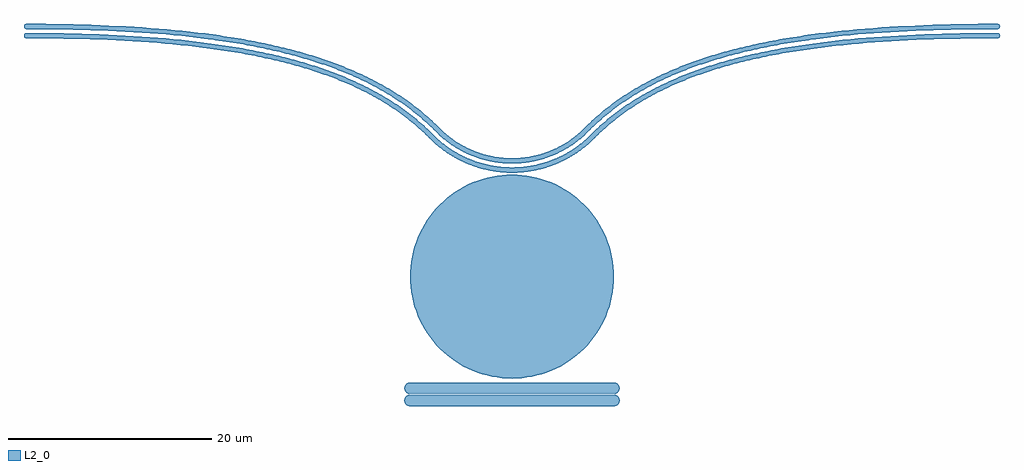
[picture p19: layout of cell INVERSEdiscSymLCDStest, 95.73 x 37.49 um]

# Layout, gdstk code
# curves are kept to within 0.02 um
import gdstk
lib = gdstk.Library(unit=1e-6, precision=1e-09)
def P(c, l, *ps):  # polygons
    for p in ps: c.add(gdstk.Polygon(p, *l))
L2_0 = (2, 0)

inversediscsymlcdstest = lib.new_cell('INVERSEdiscSymLCDStest')
P(inversediscsymlcdstest, L2_0, [(-10,-30),(-10.98,-29.952),(-11.951,-29.808),(-12.903,-29.569),(-13.827,-29.239),(-14.714,-28.819),(-15.556,-28.315),(-16.344,-27.73),(-17.071,-27.071),(-17.73,-26.344),(-18.315,-25.556),(-18.819,-24.714),(-19.239,-23.827),(-19.569,-22.903),(-19.808,-21.951),(-19.952,-20.98),(-20,-20),(-19.952,-19.02),(-19.808,-18.049),(-19.569,-17.097),(-19.239,-16.173),(-18.819,-15.286),(-18.315,-14.444),(-17.73,-13.656),(-17.071,-12.929),(-16.344,-12.27),(-15.556,-11.685),(-14.714,-11.181),(-13.827,-10.761),(-12.903,-10.431),(-11.951,-10.192),(-10.98,-10.048),(-10,-10),(-9.02,-10.048),(-8.049,-10.192),(-7.097,-10.431),(-6.173,-10.761),(-5.286,-11.181),(-4.444,-11.685),(-3.656,-12.27),(-2.929,-12.929),(-2.27,-13.656),(-1.685,-14.444),(-1.181,-15.286),(-0.761,-16.173),(-0.431,-17.097),(-0.192,-18.049),(-0.048,-19.02),(0,-20),(-0.048,-20.98),(-0.192,-21.951),(-0.431,-22.903),(-0.761,-23.827),(-1.181,-24.714),(-1.685,-25.556),(-2.27,-26.344),(-2.929,-27.071),(-3.656,-27.73),(-4.444,-28.315),(-5.286,-28.819),(-6.173,-29.239),(-7.097,-29.569),(-8.049,-29.808),(-9.02,-29.952)],
  [(-20,-32.7),(-20.214,-32.657),(-20.389,-32.539),(-20.507,-32.364),(-20.55,-32.15),(-20.507,-31.936),(-20.389,-31.761),(-20.214,-31.643),(-20,-31.6),(0,-31.6),(0.214,-31.643),(0.389,-31.761),(0.507,-31.936),(0.55,-32.15),(0.507,-32.364),(0.389,-32.539),(0.214,-32.657),(0,-32.7)],
  [(-20,-31.5),(-20.214,-31.457),(-20.389,-31.339),(-20.507,-31.164),(-20.55,-30.95),(-20.507,-30.736),(-20.389,-30.561),(-20.214,-30.443),(-20,-30.4),(0,-30.4),(0.214,-30.443),(0.389,-30.561),(0.507,-30.736),(0.55,-30.95),(0.507,-31.164),(0.389,-31.339),(0.214,-31.457),(0,-31.5)],
  [(-10,-9.8),(-11.34,-9.721),(-11.97,-9.629),(-12.662,-9.485),(-13.947,-9.095),(-15.114,-8.589),(-15.978,-8.107),(-16.798,-7.552),(-17.619,-6.88),(-18.967,-5.589),(-20.056,-4.662),(-21.419,-3.654),(-22.884,-2.722),(-24.686,-1.749),(-26.625,-0.871),(-28.706,-0.083),(-30.93,0.616),(-33.304,1.23),(-35.851,1.766),(-38.55,2.22),(-41.039,2.552),(-44.803,2.925),(-48.818,3.185),(-53.087,3.336),(-57.643,3.387),(-57.737,3.416),(-57.825,3.496),(-57.866,3.61),(-57.856,3.71),(-57.757,3.843),(-57.617,3.886),(-57.617,3.386),(-57.617,3.886),(-55.766,3.878),(-52.191,3.814),(-48.781,3.684),(-46.331,3.54),(-43.205,3.286),(-39.878,2.911),(-37.088,2.494),(-34.131,1.928),(-31.371,1.257),(-29.92,0.838),(-28.801,0.477),(-26.67,-0.312),(-24.682,-1.195),(-22.834,-2.173),(-21.329,-3.111),(-19.927,-4.127),(-18.807,-5.061),(-17.335,-6.463),(-16.554,-7.11),(-15.659,-7.716),(-14.769,-8.202),(-13.647,-8.672),(-12.938,-8.897),(-12.282,-9.059),(-11.013,-9.253),(-9.932,-9.3),(-9.257,-9.275),(-8.584,-9.208),(-7.455,-8.999),(-6.226,-8.626),(-5.11,-8.142),(-4.112,-7.573),(-3.179,-6.902),(-2.665,-6.463),(-1.012,-4.901),(0.317,-3.829),(1.537,-2.972),(2.834,-2.173),(4.682,-1.195),(6.67,-0.312),(8.801,0.477),(11.076,1.176),(13.815,1.859),(16.414,2.377),(19.166,2.814),(22.448,3.211),(26.331,3.54),(29.618,3.723),(33.069,3.836),(37.617,3.886),(37.617,3.386),(33.087,3.336),(28.818,3.185),(24.803,2.925),(21.039,2.552),(18.55,2.22),(15.851,1.766),(13.304,1.23),(10.93,0.616),(8.706,-0.083),(6.625,-0.871),(4.686,-1.749),(2.884,-2.722),(1.419,-3.654),(0.056,-4.662),(-1.033,-5.589),(-2.381,-6.88),(-3.202,-7.552),(-4.022,-8.107),(-4.886,-8.589),(-6.053,-9.095),(-7.338,-9.485),(-8.03,-9.629),(-8.66,-9.721)],
  [(37.617,3.386),(37.617,3.886),(37.715,3.866),(37.794,3.812),(37.848,3.733),(37.867,3.636),(37.848,3.538),(37.794,3.459),(37.715,3.405)],
  [(-57.617,4.286),(-57.715,4.305),(-57.794,4.359),(-57.848,4.438),(-57.867,4.536),(-57.848,4.633),(-57.794,4.712),(-57.715,4.766),(-57.617,4.786)],
  [(37.617,4.286),(37.617,4.786),(37.715,4.766),(37.794,4.712),(37.848,4.633),(37.867,4.536),(37.848,4.438),(37.794,4.359),(37.715,4.305)],
  [(-10,-8.9),(-11.17,-8.835),(-11.879,-8.731),(-12.452,-8.61),(-13.635,-8.251),(-14.768,-7.755),(-15.727,-7.201),(-16.519,-6.631),(-17.161,-6.079),(-18.734,-4.592),(-20.081,-3.506),(-21.317,-2.639),(-22.629,-1.83),(-24.5,-0.839),(-26.511,0.055),(-28.388,0.759),(-30.669,1.477),(-33.096,2.106),(-35.339,2.584),(-37.699,2.999),(-40.54,3.398),(-43.924,3.754),(-47.921,4.039),(-52.173,4.214),(-57.617,4.286),(-57.617,4.786),(-53.931,4.754),(-49.558,4.621),(-45.441,4.379),(-42.329,4.103),(-39.376,3.751),(-36.578,3.32),(-33.614,2.736),(-31.124,2.123),(-28.773,1.416),(-26.569,0.616),(-24.509,-0.281),(-22.59,-1.277),(-21.026,-2.232),(-19.769,-3.115),(-18.974,-3.737),(-18.212,-4.385),(-16.775,-5.755),(-16.258,-6.2),(-15.402,-6.816),(-14.431,-7.365),(-13.404,-7.803),(-12.335,-8.124),(-11.176,-8.331),(-10.062,-8.4),(-8.886,-8.338),(-7.725,-8.138),(-6.654,-7.824),(-5.569,-7.365),(-4.598,-6.816),(-3.742,-6.2),(-3.225,-5.755),(-1.788,-4.385),(-1.026,-3.737),(-0.231,-3.115),(1.026,-2.232),(2.59,-1.277),(4.509,-0.281),(6.569,0.616),(8.773,1.416),(11.124,2.123),(13.614,2.736),(16.578,3.32),(19.376,3.751),(22.329,4.103),(25.441,4.379),(29.558,4.621),(33.931,4.754),(37.617,4.786),(37.617,4.286),(32.173,4.214),(27.921,4.039),(23.924,3.754),(20.54,3.398),(17.699,2.999),(15.339,2.584),(13.096,2.106),(10.669,1.477),(8.388,0.759),(6.511,0.055),(4.5,-0.839),(2.629,-1.83),(1.317,-2.639),(0.081,-3.506),(-1.266,-4.592),(-2.839,-6.079),(-3.481,-6.631),(-4.273,-7.201),(-5.232,-7.755),(-6.365,-8.251),(-7.548,-8.61),(-8.121,-8.731),(-8.83,-8.835)])

lib.write_gds('INVERSEdiscSymLCDStest.gds')
